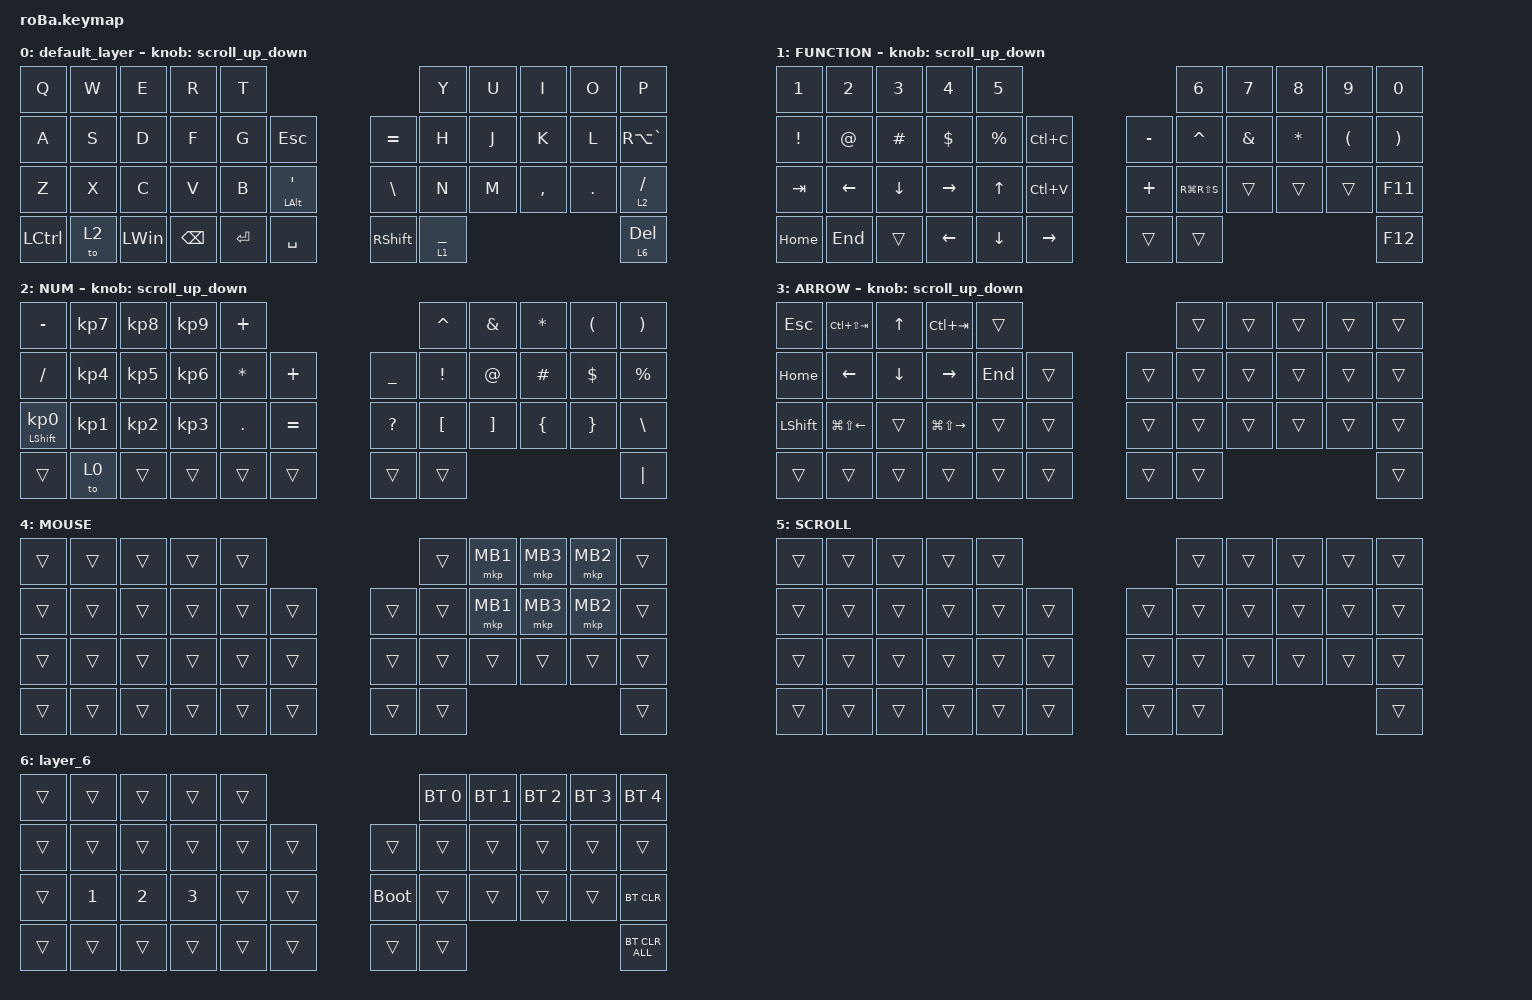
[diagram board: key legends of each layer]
#include <behaviors.dtsi>
#include <dt-bindings/zmk/bt.h>
#include <dt-bindings/zmk/keys.h>
#include <dt-bindings/zmk/pointing.h>

#define ZMK_POINTING_DEFAULT_SCRL_VAL 100
#define MOUSE 4
#define SCROLL 5
#define NUM 6

&mt {
    flavor = "balanced";
    quick-tap-ms = <0>;
};

/ {
    combos {
        compatible = "zmk,combos";

        tab {
            bindings = <&kp TAB>;
            key-positions = <11 12>;
        };

        shift_tab {
            bindings = <&kp LS(TAB)>;
            key-positions = <12 13>;
        };

        muhennkann {
            bindings = <&to_layer_0 INT_MUHENKAN>;
            key-positions = <11 10>;
        };

        double_quotation {
            bindings = <&kp DOUBLE_QUOTES>;
            key-positions = <20 21>;
        };

        eq {
            bindings = <&kp EQUAL>;
            key-positions = <24 25>;
        };
    };

    macros {
        to_layer_0: to_layer_0 {
            compatible = "zmk,behavior-macro-one-param";
            #binding-cells = <1>;
            bindings = <&to 0 &macro_param_1to1 &kp MACRO_PLACEHOLDER>;
            label = "TO_LAYER_0";
        };
    };

    behaviors {
        scroll_up_down: behavior_sensor_rotate_mouse_wheel_up_down {
            compatible = "zmk,behavior-sensor-rotate";
            #sensor-binding-cells = <0>;
            bindings = <&msc SCRL_DOWN>, <&msc SCRL_UP>;

            // 追加: スクロールのタップ時間を設定 (20ms)

            tap-ms = <20>;
        };

        lt_to_layer_0: lt_to_layer_0 {
            compatible = "zmk,behavior-hold-tap";
            label = "LAYER_TAP_TO_0";
            bindings = <&mo>, <&to_layer_0>;

            #binding-cells = <2>;
            tapping-term-ms = <200>;
        };
    };

    keymap {
        compatible = "zmk,keymap";

        default_layer {
            bindings = <
&kp Q      &kp W  &kp E         &kp R          &kp T                                             &kp Y        &kp U  &kp I      &kp O    &kp P
&kp A      &kp S  &kp D         &kp F          &kp G      &kp ESC               &kp EQUAL        &kp H        &kp J  &kp K      &kp L    &kp RA(GRAVE)
&kp Z      &kp X  &kp C         &kp V          &kp B      &mt LEFT_ALT SQT      &kp BACKSLASH    &kp N        &kp M  &kp COMMA  &kp DOT  &lt 2 SLASH
&kp LCTRL  &to 2  &kp LEFT_WIN  &kp BACKSPACE  &kp ENTER  &kp SPACE             &kp RIGHT_SHIFT  &lt 1 UNDER                             &lt 6 DEL
            >;

            sensor-bindings = <&scroll_up_down>;
        };

        FUNCTION {
            bindings = <
&kp NUMBER_1     &kp NUMBER_2    &kp NUMBER_3    &kp NUMBER_4     &kp N5                                          &kp NUMBER_6   &kp N7         &kp N8        &kp N9                &kp N0
&kp EXCLAMATION  &kp AT_SIGN     &kp HASH        &kp DOLLAR       &kp PERCENT     &kp LC(C)            &kp MINUS  &kp CARET      &kp AMPERSAND  &kp ASTERISK  &kp LEFT_PARENTHESIS  &kp RIGHT_PARENTHESIS
&kp TAB          &kp LEFT_ARROW  &kp DOWN_ARROW  &kp RIGHT_ARROW  &kp UP_ARROW    &kp LC(V)            &kp PLUS   &kp RG(RS(S))  &trans         &trans        &trans                &kp F11
&kp HOME         &kp END         &trans          &kp LEFT_ARROW   &kp DOWN_ARROW  &kp RIGHT_ARROW      &trans     &trans                                                            &kp F12
            >;

            sensor-bindings = <&scroll_up_down>;
        };

        NUM {
            bindings = <
&kp MINUS                   &kp KP_NUMBER_7  &kp KP_NUMBER_8  &kp KP_NUMBER_9  &kp PLUS                                     &kp CARET         &kp AMPERSAND      &kp ASTERISK    &kp LEFT_PARENTHESIS  &kp RIGHT_PARENTHESIS
&kp SLASH                   &kp KP_NUMBER_4  &kp KP_NUMBER_5  &kp KP_NUMBER_6  &kp ASTERISK  &kp PLUS       &kp UNDERSCORE  &kp EXCLAMATION   &kp AT_SIGN        &kp HASH        &kp DOLLAR            &kp PERCENT
&mt LEFT_SHIFT KP_NUMBER_0  &kp KP_NUMBER_1  &kp KP_NUMBER_2  &kp KP_NUMBER_3  &kp PERIOD    &kp EQUAL      &kp QUESTION    &kp LEFT_BRACKET  &kp RIGHT_BRACKET  &kp LEFT_BRACE  &kp RIGHT_BRACE       &kp BACKSLASH
&trans                      &to 0            &trans           &trans           &trans        &trans         &trans          &trans                                                                     &kp PIPE
            >;

            sensor-bindings = <&scroll_up_down>;
        };

        ARROW {
            bindings = <
&kp ESCAPE      &kp LC(LS(TAB))         &kp UP_ARROW    &kp LC(TAB)              &trans                       &trans  &trans  &trans  &trans  &trans
&kp HOME        &kp LEFT_ARROW          &kp DOWN_ARROW  &kp RIGHT_ARROW          &kp END  &trans      &trans  &trans  &trans  &trans  &trans  &trans
&kp LEFT_SHIFT  &kp LG(LS(LEFT_ARROW))  &trans          &kp LG(LS(RIGHT_ARROW))  &trans   &trans      &trans  &trans  &trans  &trans  &trans  &trans
&trans          &trans                  &trans          &trans                   &trans   &trans      &trans  &trans                          &trans
            >;

            sensor-bindings = <&scroll_up_down>;
        };

        MOUSE {
            bindings = <
&trans  &trans  &trans  &trans  &trans                      &trans  &mkp MB1  &mkp MB3  &mkp MB2  &trans
&trans  &trans  &trans  &trans  &trans  &trans      &trans  &trans  &mkp MB1  &mkp MB3  &mkp MB2  &trans
&trans  &trans  &trans  &trans  &trans  &trans      &trans  &trans  &trans    &trans    &trans    &trans
&trans  &trans  &trans  &trans  &trans  &trans      &trans  &trans                                &trans
            >;
        };

        SCROLL {
            bindings = <
&trans  &trans  &trans  &trans  &trans                      &trans  &trans  &trans  &trans  &trans
&trans  &trans  &trans  &trans  &trans  &trans      &trans  &trans  &trans  &trans  &trans  &trans
&trans  &trans  &trans  &trans  &trans  &trans      &trans  &trans  &trans  &trans  &trans  &trans
&trans  &trans  &trans  &trans  &trans  &trans      &trans  &trans                          &trans
            >;
        };

        layer_6 {
            bindings = <
&trans  &trans        &trans        &trans        &trans                           &bt BT_SEL 0  &bt BT_SEL 1  &bt BT_SEL 2  &bt BT_SEL 3  &bt BT_SEL 4
&trans  &trans        &trans        &trans        &trans  &trans      &trans       &trans        &trans        &trans        &trans        &trans
&trans  &kp NUMBER_1  &kp NUMBER_2  &kp NUMBER_3  &trans  &trans      &bootloader  &trans        &trans        &trans        &trans        &bt BT_CLR
&trans  &trans        &trans        &trans        &trans  &trans      &trans       &trans                                                  &bt BT_CLR_ALL
            >;
        };
    };
};
